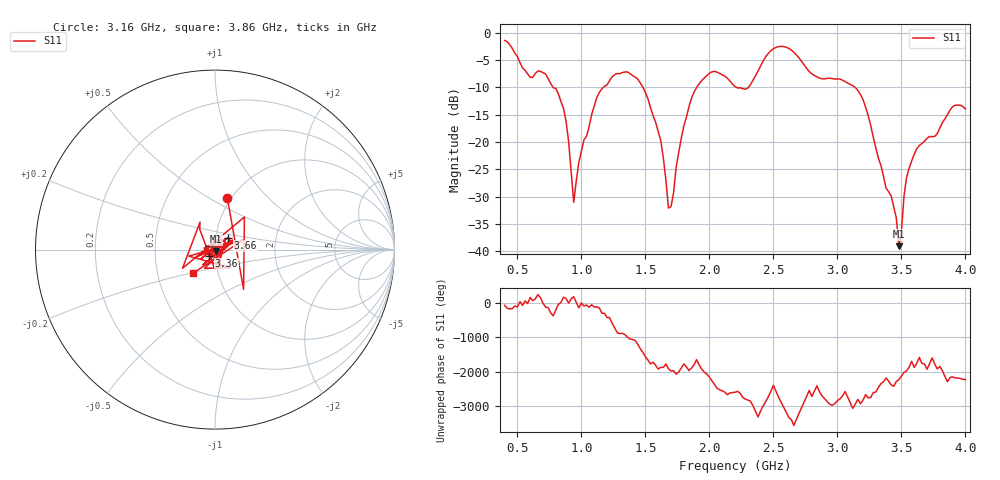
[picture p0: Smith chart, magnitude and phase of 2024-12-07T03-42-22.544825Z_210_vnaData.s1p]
!Created with skrf (http://scikit-rf.org).
# Hz S RI R 50.0
!freq ReS11 ImS11
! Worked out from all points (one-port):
!   181 points, 400 MHz to 4 GHz, reference 50 ohm
!   lowest |S11| = -39.1 dB at 3.48 GHz (marker M1), VSWR 1.02, Z = 50.4 - j1.04 ohm
!   |S11| at or under -10 dB: 778.4 MHz to 1.172 GHz (393.5 MHz wide, 40.3 % of centre); 1.48 GHz to 1.9 GHz (419.9 MHz wide, 24.8 % of centre); 3.139 GHz to end of sweep (the widest 3 of 4)
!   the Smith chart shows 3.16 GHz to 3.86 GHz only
!   S11 on the Smith chart (normalised r, x): 3.16 GHz: 0.96, +0.61; 3.36 GHz: 0.93, -0.07; 3.66 GHz: 1.14, +0.15; 3.86 GHz: 0.76, -0.21
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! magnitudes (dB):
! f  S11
! 400 MHz  -1.4
! 600 MHz  -8.2
! 720 MHz  -7.5
! 860 MHz  -13.8
! 900 MHz  -19.9
! 940 MHz  -31.1
! 980 MHz  -23.7
! 1.12 GHz  -11.9
! 1.3 GHz  -7.5
! 1.52 GHz  -12.1
! 1.62 GHz  -19.8
! 1.68 GHz  -32.1
! 1.76 GHz  -21.9
! 1.86 GHz  -12.0
! 1.94 GHz  -8.7
! 2.2 GHz  -9.8
! 2.3 GHz  -10.1
! 2.5 GHz  -2.9
! 2.66 GHz  -3.6
! 3.1 GHz  -9.5
! 3.16 GHz  -10.6
! 3.36 GHz  -26.3
! 3.46 GHz  -33.9
! 3.48 GHz  -39.1
! 3.56 GHz  -24.9
! 3.66 GHz  -20.3
! 3.86 GHz  -15.0
! 4 GHz  -14.0
